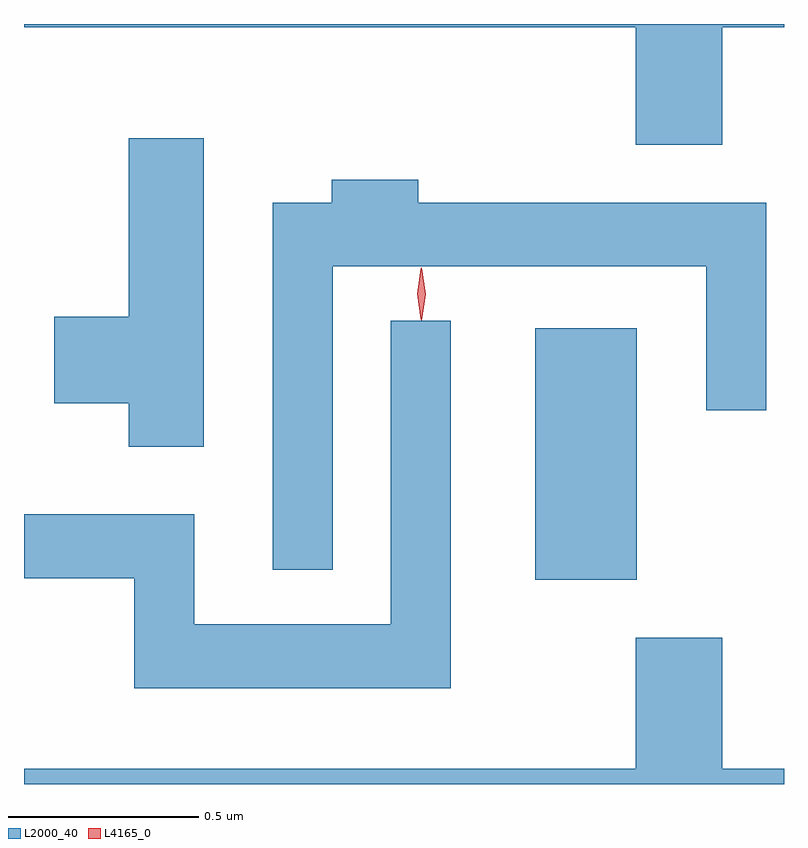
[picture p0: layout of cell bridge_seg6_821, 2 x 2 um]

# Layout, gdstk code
import gdstk
lib = gdstk.Library(unit=1e-6, precision=1e-09)
def R(c, l, rs):  # rectangles x0, y0, x1, y1
    for r in rs: c.add(gdstk.rectangle(r[:2], r[2:], *l))
def P(c, l, *ps):  # polygons
    for p in ps: c.add(gdstk.Polygon(p, *l))
L2000_40 = (2000, 40)
L4165_0 = (4165, 0)

bridge_seg6_821 = lib.new_cell('bridge_seg6_821')
R(bridge_seg6_821, L2000_40, [(439.106,1573.001,439.374,1573.664)])
P(bridge_seg6_821, L2000_40, [(439.599,1574.456),(439.761,1574.456),(439.761,1574.464),(437.761,1574.464),(437.761,1574.456),(439.371,1574.456),(439.371,1574.146),(439.599,1574.146)],
  [(438.234,1574.164),(438.036,1574.164),(438.036,1573.694),(437.841,1573.694),(437.841,1573.466),(438.036,1573.466),(438.036,1573.351),(438.234,1573.351)],
  [(438.574,1573.826),(439.556,1573.826),(439.556,1573.448),(439.714,1573.448),(439.714,1573.994),(438.799,1573.994),(438.799,1574.054),(438.571,1574.054),(438.571,1573.994),(438.416,1573.994),(438.416,1573.028),(438.574,1573.028)],
  [(438.884,1573.683),(438.726,1573.683),(438.726,1572.884),(438.209,1572.884),(438.209,1573.174),(437.761,1573.174),(437.761,1573.006),(438.051,1573.006),(438.051,1572.716),(438.884,1572.716)],
  [(439.761,1572.504),(439.599,1572.504),(439.599,1572.849),(439.371,1572.849),(439.371,1572.504),(437.761,1572.504),(437.761,1572.464),(439.761,1572.464)])
P(bridge_seg6_821, L4165_0, [(438.805,1573.687),(438.796,1573.754),(438.805,1573.82),(438.806,1573.821),(438.806,1573.82),(438.816,1573.754),(438.806,1573.687),(438.806,1573.687)],
  [(438.807,1573.684),(438.798,1573.753),(438.807,1573.822),(438.808,1573.823),(438.808,1573.822),(438.818,1573.753),(438.808,1573.684),(438.808,1573.684)])

lib.write_gds('bridge_seg6_821.gds')
